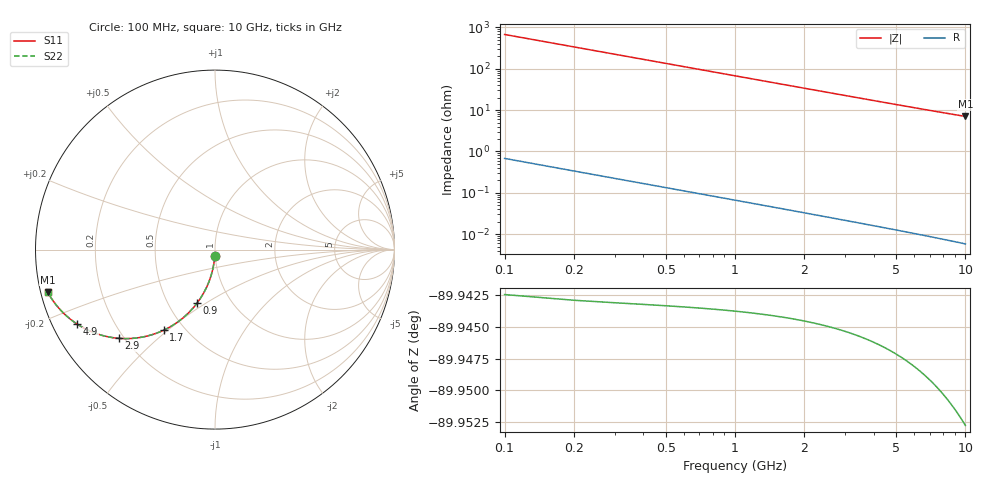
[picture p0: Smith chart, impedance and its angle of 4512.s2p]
# Hz S RI R 50.00
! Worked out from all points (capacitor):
!   100 points, 100 MHz to 10 GHz, reference 50 ohm
!   read as one part in shunt: C = 2.36 pF near 100 MHz
!   lowest |Z| = 7.02 ohm at 10 GHz (marker M1)
!   S11 on the Smith chart (normalised r, x): 100 MHz: 0.99, -0.07; 900 MHz: 0.69, -0.46; 1.7 GHz: 0.39, -0.48; 2.9 GHz: 0.18, -0.38; 4.9 GHz: 0.07, -0.25; 10 GHz: 0.02, -0.12
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1e8  -0.00137 -0.0369  0.9985 -0.0372  0.9985 -0.0372  -0.00137 -0.0369
2e8  -0.00551 -0.0736  0.9944 -0.0741  0.9944 -0.0741  -0.00551 -0.0736
3e8  -0.0123 -0.1096  0.9876 -0.1104  0.9876 -0.1104  -0.0123 -0.1096
4e8  -0.0217 -0.1447  0.9782 -0.1457  0.9782 -0.1457  -0.0217 -0.1447
5e8  -0.0334 -0.1787  0.9665 -0.18  0.9665 -0.18  -0.0334 -0.1787
6e8  -0.0474 -0.2113  0.9525 -0.2129  0.9525 -0.2129  -0.0474 -0.2113
7e8  -0.0634 -0.2423  0.9365 -0.2442  0.9365 -0.2442  -0.0634 -0.2423
9e8  -0.1006 -0.2991  0.8993 -0.3015  0.8993 -0.3015  -0.1006 -0.2991
1.1e9  -0.143 -0.3482  0.8569 -0.3511  0.8569 -0.3511  -0.143 -0.3482
1.3e9  -0.189 -0.3893  0.8109 -0.3927  0.8109 -0.3927  -0.189 -0.3893
1.7e9  -0.2848 -0.4486  0.7151 -0.4531  0.7151 -0.4531  -0.2848 -0.4486
1.8e9  -0.3086 -0.4591  0.6913 -0.4638  0.6913 -0.4638  -0.3086 -0.4591
2.3e9  -0.4215 -0.4903  0.5784 -0.4963  0.5784 -0.4963  -0.4215 -0.4903
2.9e9  -0.5365 -0.4943  0.4633 -0.502  0.4633 -0.502  -0.5365 -0.4943
3.4e9  -0.6141 -0.4818  0.3858 -0.4908  0.3858 -0.4908  -0.6141 -0.4818
4.1e9  -0.6982 -0.453  0.3016 -0.4639  0.3016 -0.4639  -0.6982 -0.453
4.9e9  -0.7678 -0.4152  0.232 -0.4282  0.232 -0.4282  -0.7678 -0.4152
5.1e9  -0.7818 -0.4057  0.218 -0.4193  0.218 -0.4193  -0.7818 -0.4057
5.8e9  -0.8226 -0.3737  0.1772 -0.3892  0.1772 -0.3892  -0.8226 -0.3737
6.7e9  -0.861 -0.3363  0.1387 -0.3543  0.1387 -0.3543  -0.861 -0.3363
8.4e9  -0.9072 -0.278  0.0924 -0.3008  0.0924 -0.3008  -0.9072 -0.278
1e10  -0.933 -0.2354  0.0665 -0.2628  0.0665 -0.2628  -0.933 -0.2354
